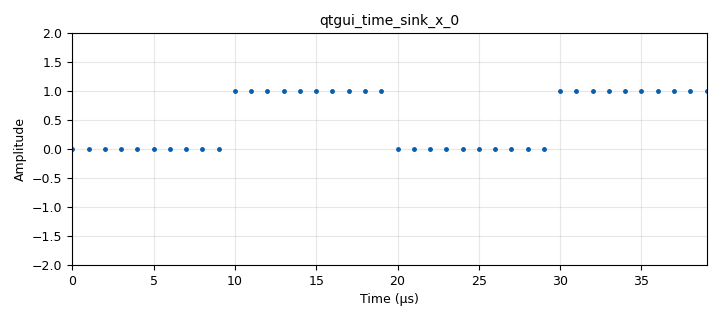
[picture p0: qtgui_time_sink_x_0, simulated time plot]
options:
  parameters:
    generate_options: qt_gui
    id: Rates
    output_language: python
    title: Rates
  states: {}

blocks:
- name: samp_rate
  id: variable
  parameters:
    value: 1e6
  states: {}
- name: blocks_repeat_0
  id: blocks_repeat
  parameters:
    interp: '10'
    type: float
  states: {}
- name: blocks_throttle_0
  id: blocks_throttle
  parameters:
    samples_per_second: samp_rate
    type: float
  states: {}
- name: blocks_vector_source_x_0
  id: blocks_vector_source_x
  parameters:
    repeat: 'True'
    type: float
    vector: '[0, 1]'
  states: {}
- name: qtgui_time_sink_x_0
  id: qtgui_time_sink_x
  parameters:
    marker1: '0'
    size: '40'
    srate: samp_rate
    style1: '0'
    type: float
    ymax: '2'
    ymin: '-2'
  states: {}

connections:
- [blocks_repeat_0, '0', blocks_throttle_0, '0']
- [blocks_throttle_0, '0', qtgui_time_sink_x_0, '0']
- [blocks_vector_source_x_0, '0', blocks_repeat_0, '0']

metadata:
  file_format: 1
